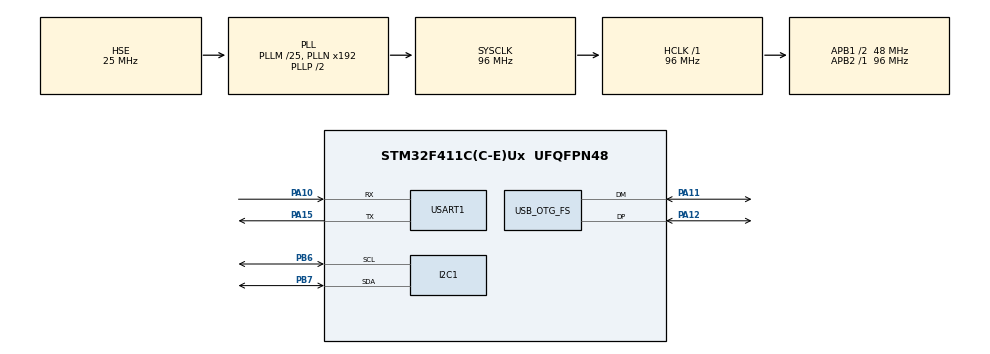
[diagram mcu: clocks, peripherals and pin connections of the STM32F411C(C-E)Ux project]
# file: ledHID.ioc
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FREERTOS.Tasks01=defaultTask,0,128,StartDefaultTask,Default,NULL,Dynamic,NULL,NULL
FREERTOS.configUSE_NEWLIB_REENTRANT=1
I2C1.I2C_Mode=I2C_Fast
Mcu.Family=STM32F4
Mcu.Name=STM32F411C(C-E)Ux
Mcu.Package=UFQFPN48
NVIC.OTG_FS_IRQn=true\:5\:0\:false\:false\:true\:true\:false\:true\:true
NVIC.PriorityGroup=NVIC_PRIORITYGROUP_4
NVIC.TIM1_UP_TIM10_IRQn=true\:15\:0\:false\:false\:true\:false\:false\:true\:true
NVIC.TimeBase=TIM1_UP_TIM10_IRQn
NVIC.TimeBaseIP=TIM1
PA10.Mode=Asynchronous
PA10.Signal=USART1_RX
PA11.Mode=Host_Only
PA11.Signal=USB_OTG_FS_DM
PA12.Mode=Host_Only
PA12.Signal=USB_OTG_FS_DP
PA15.Mode=Asynchronous
PA15.Signal=USART1_TX
PB6.Mode=I2C
PB6.Signal=I2C1_SCL
PB7.Mode=I2C
PB7.Signal=I2C1_SDA
PC14-OSC32_IN.Mode=LSE-External-Oscillator
PC14-OSC32_IN.Signal=RCC_OSC32_IN
PC15-OSC32_OUT.Mode=LSE-External-Oscillator
PC15-OSC32_OUT.Signal=RCC_OSC32_OUT
PH0\ -\ OSC_IN.Mode=HSE-External-Oscillator
PH0\ -\ OSC_IN.Signal=RCC_OSC_IN
PH1\ -\ OSC_OUT.Mode=HSE-External-Oscillator
PH1\ -\ OSC_OUT.Signal=RCC_OSC_OUT
ProjectManager.HeapSize=0x400
ProjectManager.StackSize=0x800
ProjectManager.TargetToolchain=STM32CubeIDE
RCC.48MHZClocksFreq_Value=48000000
RCC.AHBFreq_Value=96000000
RCC.APB1CLKDivider=RCC_HCLK_DIV2
RCC.APB1Freq_Value=48000000
RCC.APB1TimFreq_Value=96000000
RCC.APB2Freq_Value=96000000
RCC.APB2TimFreq_Value=96000000
RCC.CortexFreq_Value=96000000
RCC.HCLKFreq_Value=96000000
RCC.HSE_VALUE=25000000
RCC.HSI_VALUE=16000000
RCC.PLLM=25
RCC.SYSCLKFreq_VALUE=96000000
RCC.SYSCLKSource=RCC_SYSCLKSOURCE_PLLCLK
RCC.VCOOutputFreq_Value=192000000
USART1.VirtualMode=VM_ASYNC
USB_HOST.SW_VBUS_DRIVE_HID_FS=true
USB_HOST.USBH_HandleTypeDef=hUsbHostFS
USB_HOST.VirtualModeFS=Hid
USB_OTG_FS.VirtualMode=Host_Only
USB_OTG_FS.phy_itface=HCD_PHY_EMBEDDED
VP_FREERTOS_VS_CMSIS_V1.Mode=CMSIS_V1
VP_SYS_VS_tim1.Mode=TIM1
VP_USB_HOST_VS_USB_HOST_HID_FS.Mode=HID_FS
board=custom

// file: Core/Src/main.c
/* USER CODE BEGIN Header */
/**
  ******************************************************************************
  * @file           : main.c
  * @brief          : Main program body
  ******************************************************************************
  * @attention
  *
  * Copyright (c) 2025 STMicroelectronics.
  * All rights reserved.
  *
  * This software is licensed under terms that can be found in the LICENSE file
  * in the root directory of this software component.
  * If no LICENSE file comes with this software, it is provided AS-IS.
  *
  ******************************************************************************
  */
/* USER CODE END Header */
#include "main.h"
#include "cmsis_os.h"
#include "usb_host.h"

/* USER CODE BEGIN Includes */
#include "usbh_hid.h"
#include "usbh_hid_keybd.h"
#include <string.h>
#include <stdio.h>
#include "fonts.h"
#include "ssd1306.h"
/* USER CODE END Includes */

/* USER CODE BEGIN PD */
#define FONT Font_7x10
#define CHAR_WIDTH 7
#define CHAR_HEIGHT 10
#define MAX_BUFFER_LINES 50
#define MAX_CHARS_PER_LINE (SSD1306_WIDTH / CHAR_WIDTH) // ~18
#define MAX_SCREEN_LINES (SSD1306_HEIGHT / CHAR_HEIGHT) // ~6

// for non alfanumeric
#define KEY_HOME 0x4A
#define KEY_ARROW_RIGHT 0x4F
#define KEY_ARROW_LEFT 0x50
#define KEY_ARROW_DOWN 0x51
#define KEY_ARROW_UP 0x52
/* USER CODE END PD */

I2C_HandleTypeDef hi2c1;
UART_HandleTypeDef huart1;

osThreadId defaultTaskHandle;

void SystemClock_Config(void);
static void MX_GPIO_Init(void);
static void MX_I2C1_Init(void);
static void MX_USART1_UART_Init(void);
void StartDefaultTask(void const * argument);

/* USER CODE BEGIN PFP */
void ProcessKeyboardData(uint8_t* data);
void redraw_screen(void);
/* USER CODE END PFP */

int main(void)
{

  /* MCU Configuration--------------------------------------------------------*/

  /* Reset of all peripherals, Initializes the Flash interface and the Systick. */
  HAL_Init();

  /* Configure the system clock */
  SystemClock_Config();

  /* Initialize all configured peripherals */
  MX_GPIO_Init();
  MX_I2C1_Init();
  MX_USART1_UART_Init();
  /* USER CODE BEGIN 2 */

  char* start_msg = "USB Host Keyboard with FreeRTOS Ready...\r\n";
  HAL_UART_Transmit(&huart1, (uint8_t*)start_msg, strlen(start_msg), HAL_MAX_DELAY);

  //FOR LCD 1306 BIAR NYALA YEKAN
  ssd1306_Init();
  ssd1306_WriteString("HOST USB", Font_11x18, White);
  ssd1306_SetCursor(0, 20);
  ssd1306_WriteString("READY CUY!", Font_7x10, White);
  ssd1306_UpdateScreen();
  /* USER CODE END 2 */

  /* Create the thread(s) */
  /* definition and creation of defaultTask */
  osThreadDef(defaultTask, StartDefaultTask, osPriorityNormal, 0, 1024);
  defaultTaskHandle = osThreadCreate(osThread(defaultTask), NULL);

  /* Start scheduler */
  osKernelStart();

  /* We should never get here as control is now taken by the scheduler */

  /* Infinite loop */
  while (1)
  {

  }
}

void SystemClock_Config(void)
{
  RCC_OscInitTypeDef RCC_OscInitStruct = {0};
  RCC_ClkInitTypeDef RCC_ClkInitStruct = {0};

  /** Configure the main internal regulator output voltage
  */
  __HAL_RCC_PWR_CLK_ENABLE();
  __HAL_PWR_VOLTAGESCALING_CONFIG(PWR_REGULATOR_VOLTAGE_SCALE1);

  /** Initializes the RCC Oscillators according to the specified parameters
  * in the RCC_OscInitTypeDef structure.
  */
  RCC_OscInitStruct.OscillatorType = RCC_OSCILLATORTYPE_HSE;
  RCC_OscInitStruct.HSEState = RCC_HSE_ON;
  RCC_OscInitStruct.PLL.PLLState = RCC_PLL_ON;
  RCC_OscInitStruct.PLL.PLLSource = RCC_PLLSOURCE_HSE;
  RCC_OscInitStruct.PLL.PLLM = 25;
  RCC_OscInitStruct.PLL.PLLN = 192;
  RCC_OscInitStruct.PLL.PLLP = RCC_PLLP_DIV2;
  RCC_OscInitStruct.PLL.PLLQ = 4;
  if (HAL_RCC_OscConfig(&RCC_OscInitStruct) != HAL_OK)
  {
    Error_Handler();
  }

  /** Initializes the CPU, AHB and APB buses clocks
  */
  RCC_ClkInitStruct.ClockType = RCC_CLOCKTYPE_HCLK|RCC_CLOCKTYPE_SYSCLK
                              |RCC_CLOCKTYPE_PCLK1|RCC_CLOCKTYPE_PCLK2;
  RCC_ClkInitStruct.SYSCLKSource = RCC_SYSCLKSOURCE_PLLCLK;
  RCC_ClkInitStruct.AHBCLKDivider = RCC_SYSCLK_DIV1;
  RCC_ClkInitStruct.APB1CLKDivider = RCC_HCLK_DIV2;
  RCC_ClkInitStruct.APB2CLKDivider = RCC_HCLK_DIV1;

  if (HAL_RCC_ClockConfig(&RCC_ClkInitStruct, FLASH_LATENCY_3) != HAL_OK)
  {
    Error_Handler();
  }
}

static void MX_I2C1_Init(void)
{

  hi2c1.Instance = I2C1;
  hi2c1.Init.ClockSpeed = 400000;
  hi2c1.Init.DutyCycle = I2C_DUTYCYCLE_2;
  hi2c1.Init.OwnAddress1 = 0;
  hi2c1.Init.AddressingMode = I2C_ADDRESSINGMODE_7BIT;
  hi2c1.Init.DualAddressMode = I2C_DUALADDRESS_DISABLE;
  hi2c1.Init.OwnAddress2 = 0;
  hi2c1.Init.GeneralCallMode = I2C_GENERALCALL_DISABLE;
  hi2c1.Init.NoStretchMode = I2C_NOSTRETCH_DISABLE;
  if (HAL_I2C_Init(&hi2c1) != HAL_OK)
  {
    Error_Handler();
  }

}

static void MX_USART1_UART_Init(void)
{

  huart1.Instance = USART1;
  huart1.Init.BaudRate = 115200;
  huart1.Init.WordLength = UART_WORDLENGTH_8B;
  huart1.Init.StopBits = UART_STOPBITS_1;
  huart1.Init.Parity = UART_PARITY_NONE;
  huart1.Init.Mode = UART_MODE_TX_RX;
  huart1.Init.HwFlowCtl = UART_HWCONTROL_NONE;
  huart1.Init.OverSampling = UART_OVERSAMPLING_16;
  if (HAL_UART_Init(&huart1) != HAL_OK)
  {
    Error_Handler();
  }

}

static void MX_GPIO_Init(void)
{

  /* GPIO Ports Clock Enable */
  __HAL_RCC_GPIOC_CLK_ENABLE();
  __HAL_RCC_GPIOH_CLK_ENABLE();
  __HAL_RCC_GPIOA_CLK_ENABLE();
  __HAL_RCC_GPIOB_CLK_ENABLE();

}

/* USER CODE BEGIN 4 */

// For transforming enum HOST_StateTypeDef To String
void PrintHostState(HOST_StateTypeDef state) {
    char* msg;
    switch(state) {
        case HOST_IDLE: msg = "Host State -> HOST_IDLE\r\n"; break;
        case HOST_DEV_ATTACHED: msg = "Host State -> HOST_DEV_ATTACHED\r\n"; break;
        case HOST_DEV_DISCONNECTED: msg = "Host State -> HOST_DEV_DISCONNECTED\r\n"; break;
        case HOST_DETECT_DEVICE_SPEED: msg = "Host State -> HOST_DETECT_SPEED\r\n"; break;
        case HOST_ENUMERATION: msg = "Host State -> HOST_ENUMERATION\r\n"; break;
        case HOST_CLASS_REQUEST: msg = "Host State -> HOST_CLASS_REQUEST\r\n"; break;
        case HOST_INPUT: msg = "Host State -> HOST_INPUT\r\n"; break;
        case HOST_SET_CONFIGURATION: msg = "Host State -> HOST_SET_CONFIGURATION\r\n"; break;
        case HOST_CHECK_CLASS: msg = "Host State -> HOST_CHECK_CLASS\r\n"; break;
        case HOST_CLASS: msg = "Host State -> HOST_CLASS\r\n"; break;
        case HOST_SUSPENDED: msg = "Host State -> HOST_SUSPENDED\r\n"; break;
        case HOST_ABORT_STATE: msg = "Host State -> HOST_ABORT_STATE\r\n"; break;
        default: msg = "Host State -> UNKNOWN\r\n"; break;
    }
    HAL_UART_Transmit(&huart1, (uint8_t*)msg, strlen(msg), HAL_MAX_DELAY);
}

// For transforming enum ApplicationTypeDef to string string
void PrintAppState(ApplicationTypeDef state) {
    char* msg;
    switch(state) {
        case APPLICATION_IDLE: msg = "Appli State -> APPLICATION_IDLE\r\n"; break;
        case APPLICATION_START: msg = "Appli State -> APPLICATION_START\r\n"; break;
        case APPLICATION_READY: msg = "Appli State -> APPLICATION_READY (Keyboard siap!)\r\n"; break;
        case APPLICATION_DISCONNECT: msg = "Appli State -> APPLICATION_DISCONNECT (Keyboard terputus)\r\n"; break;
        default: msg = "Appli State -> UNKNOWN\r\n"; break;
    }
    HAL_UART_Transmit(&huart1, (uint8_t*)msg, strlen(msg), HAL_MAX_DELAY);
}

void USBH_UserProcess(USBH_HandleTypeDef *phost, uint8_t id)
{

  static HOST_StateTypeDef last_gState = HOST_IDLE;
  static ApplicationTypeDef last_appliState = APPLICATION_IDLE;

  if (phost->gState != last_gState) {
    last_gState = phost->gState;
    PrintHostState(last_gState);
  }
  // check state
  if (Appli_state != last_appliState) {
    last_appliState = Appli_state;
    PrintAppState(last_appliState);
  }
}

// Buffer for saving text
char text_buffer[MAX_BUFFER_LINES][MAX_CHARS_PER_LINE + 1];

int cursor_line = 0;
int cursor_col = 0;
int display_top_line = 0;
int total_lines = 1;
uint8_t cursor_visible = 1;

// IMPORTANT! CONVERT HID Keycode ke ASCII
const uint8_t keycodes[] = {
  '\0', '\0', '\0', '\0', 'a', 'b', 'c', 'd', 'e', 'f', 'g', 'h', 'i', 'j', 'k', 'l',
  'm', 'n', 'o', 'p', 'q', 'r', 's', 't', 'u', 'v', 'w', 'x', 'y', 'z',
  '1', '2', '3', '4', '5', '6', '7', '8', '9', '0',
  '\n', '\e', '\b', '\t', ' ', '-', '=', '[', ']', '\\',
  '\0', ';', '\'', '`', ',', '.', '/', '\0', '\0', '\0', '\0', '\0',
  '\0', '\0', '\0', '\0', '\0', '\0', '\0', '\0', '\0', '\0', '\0', '\0'
};

const uint8_t keycodes_shifted[] = {
  '\0', '\0', '\0', '\0', 'A', 'B', 'C', 'D', 'E', 'F', 'G', 'H', 'I', 'J', 'K', 'L',
  'M', 'N', 'O', 'P', 'Q', 'R', 'S', 'T', 'U', 'V', 'W', 'X', 'Y', 'Z',
  '!', '@', '#', '$', '%', '^', '&', '*', '(', ')',
  '\n', '\e', '\b', '\t', ' ', '_', '+', '{', '}', '|',
  '\0', ':', '"', '~', '<', '>', '?', '\0', '\0', '\0', '\0', '\0',
  '\0', '\0', '\0', '\0', '\0', 'k', '\0', '\0', '\0', '\0', '\0', '\0'
};

// Callback when thereis event on Keyboard
void USBH_HID_EventCallback(USBH_HandleTypeDef *phost)
{
  // this will sent  dot every time
  //HAL_UART_Transmit(&huart1, (uint8_t*)".", 1, 10);

  HID_HandleTypeDef *HID_Handle = (HID_HandleTypeDef*) phost->pActiveClass->pData;

  if(HID_Handle->length > 0 && HID_Handle->pData[2] != 0)
  {
    ProcessKeyboardData(HID_Handle->pData);
    memset(HID_Handle->pData, 0, HID_Handle->length);
  }
}

/**
  * @brief redraw OLED from text buffer.
  */
void redraw_screen(void)
{
    ssd1306_Fill(Black);

    for (int i = 0; i < MAX_SCREEN_LINES; i++)
    {
        int line_to_draw = display_top_line + i;
        if (line_to_draw < total_lines)
        {
            ssd1306_SetCursor(0, i * CHAR_HEIGHT);
            ssd1306_WriteString(text_buffer[line_to_draw], FONT, White);
        }
    }

    if (cursor_visible && cursor_line >= display_top_line && cursor_line < display_top_line + MAX_SCREEN_LINES)
    {
        int screen_y = (cursor_line - display_top_line) * CHAR_HEIGHT;
        int screen_x = cursor_col * CHAR_WIDTH;

        for (int y = 0; y < CHAR_HEIGHT; y++) {
            for (int x = 0; x < CHAR_WIDTH; x++) {
                ssd1306_DrawPixel(screen_x + x, screen_y + y, White);
            }
        }
    }

    ssd1306_UpdateScreen();
}

void ProcessKeyboardData(uint8_t* data)
{
    uint8_t modifier = data[0];
    uint8_t keycode = data[2];
    char ascii_char;

    // Handle spesial button (Non-Alfanumeric)
    if (keycode >= KEY_HOME && keycode <= KEY_ARROW_UP) {
        switch(keycode) {
            case KEY_ARROW_UP: if (cursor_line > 0) cursor_line--; break;
            case KEY_ARROW_DOWN: if (cursor_line < total_lines - 1) cursor_line++; break;
            case KEY_ARROW_LEFT:
                if (cursor_col > 0) cursor_col--;
                else if (cursor_line > 0) {
                    cursor_line--;
                    cursor_col = strlen(text_buffer[cursor_line]);
                }
                break;
            case KEY_ARROW_RIGHT:
                if (cursor_col < strlen(text_buffer[cursor_line])) cursor_col++;
                else if (cursor_line < total_lines - 1) {
                    cursor_line++;
                    cursor_col = 0;
                }
                break;
            case KEY_HOME:
            	cursor_line = 0; cursor_col = 0; display_top_line = 0;
            	break;
        }
    } else {
        if (modifier & 0x22) { ascii_char = keycodes_shifted[keycode]; }
        else { ascii_char = keycodes[keycode]; }

        if (ascii_char != '\0') {
            if (ascii_char == '\n') { // Enter
                if (total_lines < MAX_BUFFER_LINES) {
                    total_lines++;
                    cursor_line++;
                    cursor_col = 0;
                }
            } else if (ascii_char == '\b') { // Backspace
                if (cursor_col > 0) {
                    memmove(&text_buffer[cursor_line][cursor_col - 1], &text_buffer[cursor_line][cursor_col], strlen(text_buffer[cursor_line]) - cursor_col + 1);
                    cursor_col--;
                }
            } else if (strlen(text_buffer[cursor_line]) < MAX_CHARS_PER_LINE) {
                memmove(&text_buffer[cursor_line][cursor_col + 1], &text_buffer[cursor_line][cursor_col], strlen(text_buffer[cursor_line]) - cursor_col + 1);
                text_buffer[cursor_line][cursor_col] = ascii_char;
                cursor_col++;
            }
        }
    }

    if (cursor_col > strlen(text_buffer[cursor_line])) {
        cursor_col = strlen(text_buffer[cursor_line]);
    }

    // Scrolling
    if (cursor_line >= display_top_line + MAX_SCREEN_LINES) {
        display_top_line = cursor_line - MAX_SCREEN_LINES + 1;
    }
    if (cursor_line < display_top_line) {
        display_top_line = cursor_line;
    }

    redraw_screen();
}
/* USER CODE END 4 */

void StartDefaultTask(void const * argument)
{
  /* init code for USB_HOST */
  MX_USB_HOST_Init();

  /* USER CODE BEGIN 5 */

  static ApplicationTypeDef last_appliState = APPLICATION_IDLE;
  uint32_t last_cursor_blink_tick = 0;
  char msg_buffer[50];

  /* Infinite loop */
  for(;;)
  {
    USBH_Process(&hUsbHostFS);

    //CHECKING and report STATE
    if (Appli_state != last_appliState)
    {
      last_appliState = Appli_state;

    if (Appli_state == APPLICATION_READY)
    {
      // for device descriptor
      ssd1306_Fill(Black);
      ssd1306_SetCursor(0, 0);
      ssd1306_WriteString("Keyboard Ready", Font_7x10, White);

      uint16_t vid = hUsbHostFS.device.DevDesc.idVendor;
      uint16_t pid = hUsbHostFS.device.DevDesc.idProduct;

      sprintf(msg_buffer, "VID: 0x%04X", vid);
      ssd1306_SetCursor(0, 12);
      ssd1306_WriteString(msg_buffer, Font_7x10, White);

      sprintf(msg_buffer, "PID: 0x%04X", pid);
      ssd1306_SetCursor(0, 24);
      ssd1306_WriteString(msg_buffer, Font_7x10, White);

      ssd1306_UpdateScreen();
      osDelay(1400);
      ssd1306_Fill(Black);
      ssd1306_UpdateScreen();

      // Reset editor
      memset(text_buffer, 0, sizeof(text_buffer));
      cursor_line = 0; cursor_col = 0;
      display_top_line = 0; total_lines = 1;
      redraw_screen();
    }
    // when keyboard disconnected
    else if (Appli_state == APPLICATION_DISCONNECT)
    {
      ssd1306_Fill(Black);
      ssd1306_SetCursor(0, 0);
      ssd1306_WriteString("EAK COPOT", Font_11x18, White);
      ssd1306_SetCursor(0, 20);
      ssd1306_WriteString("colok lagi lah we", Font_7x10, White);
      ssd1306_UpdateScreen();
    }
    // cursor
    if (HAL_GetTick() - last_cursor_blink_tick > 400)
    {
        last_cursor_blink_tick = HAL_GetTick();
        cursor_visible = !cursor_visible;
        if (Appli_state == APPLICATION_READY) {
            redraw_screen();
        }
    }
    osDelay(20);
  }
  /* USER CODE END 5 */
}
}

void HAL_TIM_PeriodElapsedCallback(TIM_HandleTypeDef *htim)
{
  if (htim->Instance == TIM1) {
    HAL_IncTick();
  }
}

void Error_Handler(void)
{
  /* USER CODE BEGIN Error_Handler_Debug */
  /* User can add his own implementation to report the HAL error return state */
  __disable_irq();
  while (1)
  {
    // add code for debugging
  }
  /* USER CODE END Error_Handler_Debug */
}
